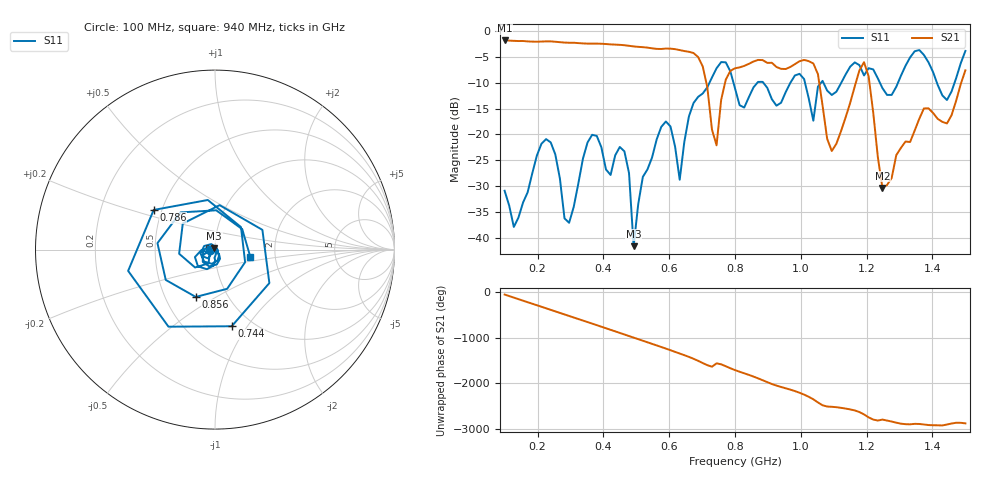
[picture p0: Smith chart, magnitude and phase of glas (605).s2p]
! NanoVNA-App
! Date: 2025-09-25 16:00:11
! Start: 100MHz Stop: 1,5GHz Points: 101
! S-Parameter data: F S11 S21 S12 S22
# Hz S RI R 50
!  Frequency  S11_Real  S11_Imag  S21_Real  S21_Imag  S12_Real  S12_Imag  S22_Real  S22_Imag
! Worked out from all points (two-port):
!   101 points, 100 MHz to 1.5 GHz, reference 50 ohm
!   highest |S21| = -1.80 dB at 100 MHz (marker M1); lowest = -30.4 dB at 1.248 GHz (marker M2)
!   |S21| within 3 dB of the highest: start of sweep to 684.2 MHz
!   lowest |S11| = -41.7 dB at 492 MHz (marker M3), VSWR 1.02, Z = 49.5 + j0.639 ohm
!   |S11| at or under -10 dB: start of sweep to 722.4 MHz; 795.4 MHz to 867.9 MHz (72.49 MHz wide, 8.72 % of centre); 886.1 MHz to 968.3 MHz (82.21 MHz wide, 8.87 % of centre) (the widest 3 of 7)
!   S12 and S22 are empty: the file has one direction only
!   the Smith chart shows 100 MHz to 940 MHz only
!   S11 on the Smith chart (normalised r, x): 100 MHz: 0.95, -0.01; 744 MHz: 0.80, -0.85; 786 MHz: 0.45, +0.24; 856 MHz: 0.71, -0.41; 940 MHz: 1.49, -0.14
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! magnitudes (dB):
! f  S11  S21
! 100 MHz  -30.9  -1.8
! 128 MHz  -38.0  -1.9
! 226 MHz  -20.9  -2.0
! 296 MHz  -37.1  -2.2
! 338 MHz  -24.7  -2.4
! 464 MHz  -23.3  -2.7
! 492 MHz  -41.7  -3.0
! 576 MHz  -18.5  -3.5
! 632 MHz  -28.8  -3.7
! 702 MHz  -12.1  -6.8
! 744 MHz  -7.2  -22.1
! 786 MHz  -7.8  -7.7
! 800 MHz  -11.1  -7.2
! 856 MHz  -10.9  -5.9
! 940 MHz  -13.9  -7.3
! 996 MHz  -8.3  -5.8
! 1.038 GHz  -17.4  -6.3
! 1.094 GHz  -12.4  -23.2
! 1.192 GHz  -8.6  -6.0
! 1.248 GHz  -11.0  -30.4
! 1.276 GHz  -12.4  -28.5
! 1.5 GHz  -3.8  -7.6
